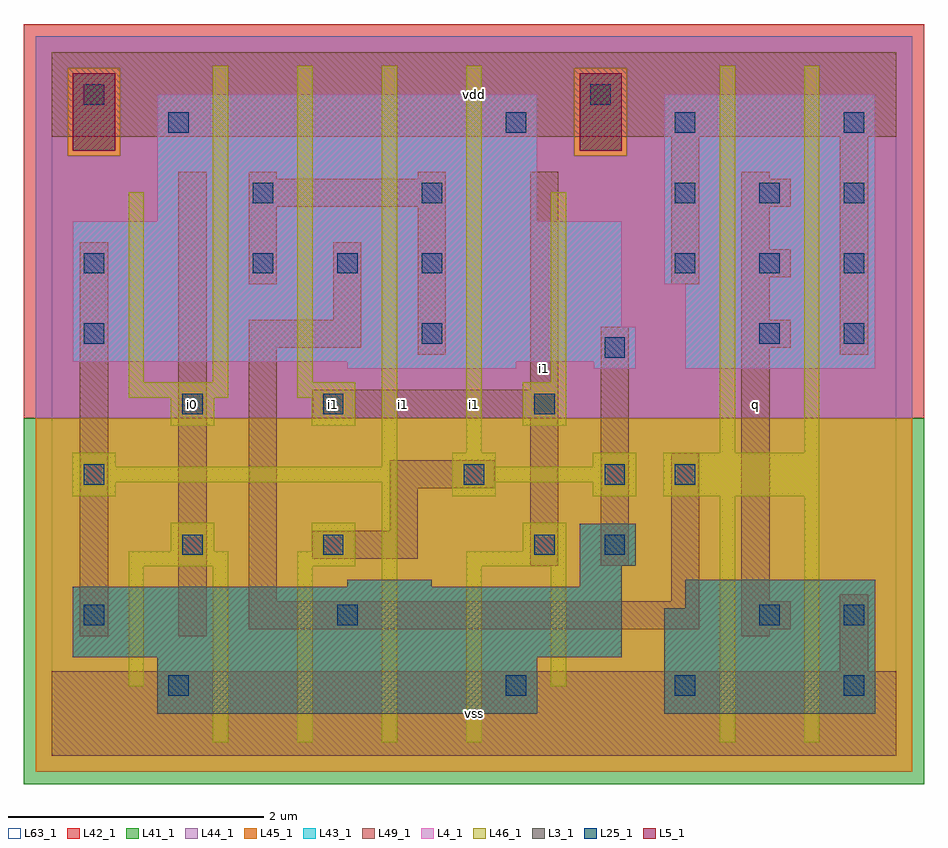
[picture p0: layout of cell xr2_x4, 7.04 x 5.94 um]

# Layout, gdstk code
import gdstk
lib = gdstk.Library(unit=1e-6, precision=1e-09)
def R(c, l, rs):  # rectangles x0, y0, x1, y1
    for r in rs: c.add(gdstk.rectangle(r[:2], r[2:], *l))
def A(c, l, x, y, w, h, nx, ny, dx, dy):  # array of equal rectangles
    R(c, l, [(x+i*dx, y+j*dy, x+i*dx+w, y+j*dy+h) for i in range(nx) for j in range(ny)])
L3_1 = (3, 1)
L4_1 = (4, 1)
L5_1 = (5, 1)
L25_1 = (25, 1)
L41_1 = (41, 1)
L42_1 = (42, 1)
L43_1 = (43, 1)
L44_1 = (44, 1)
L45_1 = (45, 1)
L46_1 = (46, 1)
L49_1 = (49, 1)
L63_1 = (63, 1)

xr2_x4 = lib.new_cell('xr2_x4')
R(xr2_x4, L3_1, [(0.825,0.33,3.795,0.77), (4.785,0.33,6.435,1.155), (0.165,0.77,4.455,1.32), (4.95,1.155,6.435,1.375), (2.31,1.32,2.97,1.375), (4.125,1.32,4.455,1.485), (4.125,1.485,4.565,1.815)])
R(xr2_x4, L4_1, [(2.31,3.025,3.63,3.08), (4.235,3.025,4.565,3.08), (4.95,3.025,6.435,3.685), (0.165,3.08,4.565,3.355), (0.165,3.355,4.455,4.18), (4.785,3.685,6.435,5.17), (0.825,4.18,3.795,5.17)])
R(xr2_x4, L5_1, [(0.165,4.73,0.495,5.335), (4.125,4.73,4.455,5.335)])
A(xr2_x4, L25_1, 3.55, 0.47, 0.16, 0.16, 3, 2, 1.32, 4.4)
A(xr2_x4, L25_1, 0.25, 3.22, 0.16, 0.16, 3, 1, 2.64, 0)
A(xr2_x4, L25_1, 1.57, 3.77, 0.16, 0.16, 3, 1, 0.66, 0)
A(xr2_x4, L25_1, 4.87, 3.77, 0.16, 0.16, 3, 2, 0.66, 0.55)
R(xr2_x4, L25_1, [(0.91,0.47,1.07,0.63), (0.25,1.02,0.41,1.18), (2.23,1.02,2.39,1.18), (5.53,1.02,5.69,1.18), (6.19,1.02,6.35,1.18), (1.02,1.57,1.18,1.73), (2.12,1.57,2.28,1.73), (3.77,1.57,3.93,1.73), (4.32,1.57,4.48,1.73), (0.25,2.12,0.41,2.28), (3.22,2.12,3.38,2.28), (4.32,2.12,4.48,2.28), (4.87,2.12,5.03,2.28), (1.02,2.67,1.18,2.83), (2.12,2.67,2.28,2.83), (3.77,2.67,3.93,2.83), (4.32,3.11,4.48,3.27), (6.19,3.22,6.35,3.38), (0.25,3.77,0.41,3.93), (1.57,4.32,1.73,4.48), (2.89,4.32,3.05,4.48), (0.91,4.87,1.07,5.03), (0.25,5.09,0.41,5.25), (4.21,5.09,4.37,5.25)])
R(xr2_x4, L41_1, [(-0.22,-0.22,6.82,2.64)])
R(xr2_x4, L42_1, [(-0.22,2.64,6.82,5.72)])
R(xr2_x4, L43_1, [(0.825,0.33,3.795,0.77), (4.785,0.33,6.435,1.155), (0.165,0.77,4.455,1.32), (4.95,1.155,6.435,1.375), (2.31,1.32,2.97,1.375), (4.125,1.32,4.455,1.485), (4.125,1.485,4.565,1.815), (2.31,3.025,3.63,3.08), (4.235,3.025,4.565,3.08), (4.95,3.025,6.435,3.685), (0.165,3.08,4.565,3.355), (0.165,3.355,4.455,4.18), (4.785,3.685,6.435,5.17), (0.825,4.18,3.795,5.17), (0.165,4.73,0.495,5.335), (4.125,4.73,4.455,5.335)])
R(xr2_x4, L44_1, [(-0.125,2.64,6.725,4.69), (-0.125,4.69,0.125,5.375), (0.535,4.69,4.085,5.375), (4.495,4.69,6.725,5.375), (-0.125,5.375,6.725,5.625)])
R(xr2_x4, L45_1, [(-0.125,-0.125,6.725,2.64), (0.125,4.69,0.535,5.375), (4.085,4.69,4.495,5.375)])
R(xr2_x4, L46_1, [(1.26,0.105,1.38,1.48), (1.92,0.105,2.04,1.48), (2.58,0.105,2.7,2.14), (3.24,0.105,3.36,1.48), (5.22,0.105,5.34,2.03), (5.88,0.105,6,2.03), (0.6,0.545,0.72,1.48), (3.9,0.545,4.02,1.48), (0.6,1.48,1.38,1.6), (1.92,1.48,2.37,1.6), (3.24,1.48,4.02,1.6), (0.93,1.6,1.27,1.82), (2.03,1.6,2.37,1.82), (3.68,1.6,4.02,1.82), (0.16,2.03,0.5,2.14), (3.13,2.03,3.47,2.14), (4.23,2.03,4.57,2.14), (4.78,2.03,6,2.37), (0.16,2.14,2.7,2.26), (3.13,2.14,4.57,2.26), (0.16,2.26,0.5,2.37), (2.58,2.26,2.7,5.395), (3.13,2.26,3.47,2.37), (4.23,2.26,4.57,2.37), (3.24,2.37,3.36,5.395), (5.22,2.37,5.34,5.395), (5.88,2.37,6,5.395), (0.93,2.58,1.27,2.8), (2.03,2.58,2.37,2.8), (3.68,2.58,4.02,2.92), (0.6,2.8,1.38,2.92), (1.92,2.8,2.37,2.92), (0.6,2.92,0.72,4.405), (1.26,2.92,1.38,5.395), (1.92,2.92,2.04,5.395), (3.9,2.92,4.02,4.405)])
A(xr2_x4, L49_1, 5.39, 3.19, 0.385, 0.22, 1, 3, 0, 0.55)
R(xr2_x4, L49_1, [(0,0,6.6,0.66), (6.16,0.66,6.38,1.265), (0.22,0.935,0.44,4.015), (0.99,0.935,1.21,4.565), (5.39,0.935,5.61,0.99), (1.54,0.99,5.06,1.21), (5.39,0.99,5.775,1.21), (1.54,1.21,1.76,3.19), (4.84,1.21,5.06,2.365), (5.39,1.21,5.61,3.19), (3.74,1.485,3.96,2.64), (4.29,1.485,4.51,3.355), (2.035,1.54,2.86,1.76), (2.64,1.76,2.86,2.09), (2.64,2.09,3.465,2.31), (2.035,2.64,3.96,2.86), (3.74,2.86,3.96,4.565), (2.86,3.135,3.08,4.29), (6.16,3.135,6.38,4.84), (1.54,3.19,2.42,3.41), (2.2,3.41,2.42,4.015), (5.39,3.41,5.61,3.74), (1.54,3.685,1.76,4.29), (4.84,3.685,5.06,4.84), (5.39,3.96,5.61,4.29), (1.54,4.29,3.08,4.51), (1.54,4.51,1.76,4.565), (2.86,4.51,3.08,4.565), (5.39,4.51,5.61,4.565), (0,4.84,6.6,5.5)])
R(xr2_x4, L63_1, [(0,0,6.6,5.5)])
xr2_x4.add(gdstk.Label('i0', (1.1,2.75), layer=49, texttype=1))
xr2_x4.add(gdstk.Label('i1', (2.2,2.75), layer=49, texttype=1))
xr2_x4.add(gdstk.Label('vss', (3.3,0.33), layer=49, texttype=1))
xr2_x4.add(gdstk.Label('i1', (2.75,2.75), layer=49, texttype=1))
xr2_x4.add(gdstk.Label('i1', (3.3,2.75), layer=49, texttype=1))
xr2_x4.add(gdstk.Label('vdd', (3.3,5.17), layer=49, texttype=1))
xr2_x4.add(gdstk.Label('i1', (3.85,3.025), layer=49, texttype=1))
xr2_x4.add(gdstk.Label('q', (5.5,2.75), layer=49, texttype=1))

lib.write_gds('xr2_x4.gds')
